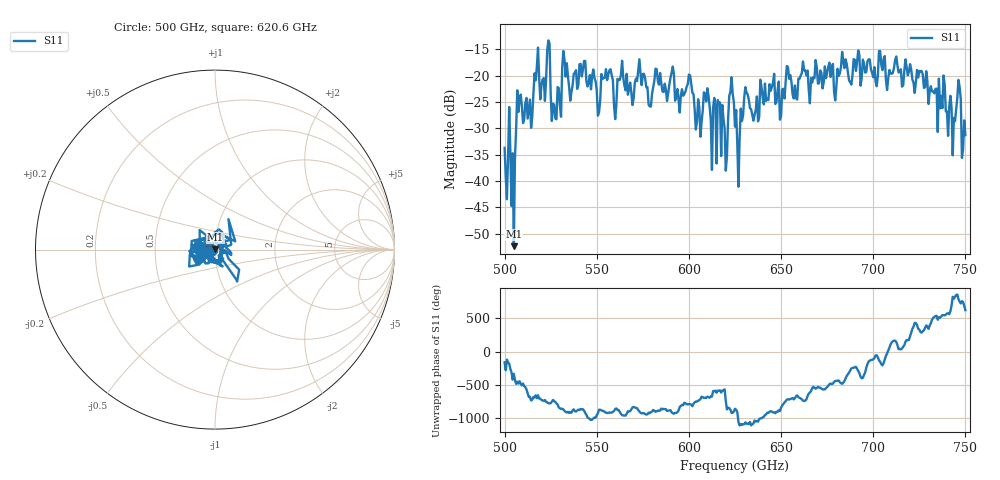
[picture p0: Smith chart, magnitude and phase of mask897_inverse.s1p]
!Created with skrf (http://scikit-rf.org).
# GHz S MA R 50.0
!freq magS11 angS11
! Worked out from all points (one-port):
!   401 points, 500 GHz to 750 GHz, reference 50 ohm
!   lowest |S11| = -52.4 dB at 505 GHz (marker M1), VSWR 1.00, Z = 50.2 + j0.112 ohm
!   |S11| at or under -10 dB: start of sweep to end of sweep
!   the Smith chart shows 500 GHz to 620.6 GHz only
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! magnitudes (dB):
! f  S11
! 500 GHz  -33.7
! 505 GHz  -52.4
! 508.1 GHz  -24.4
! 513.8 GHz  -24.5
! 516.9 GHz  -20.9
! 523.8 GHz  -13.3
! 526.9 GHz  -25.5
! 531.2 GHz  -18.3
! 542.5 GHz  -18.8
! 550.6 GHz  -27.6
! 562.5 GHz  -20.8
! 578.8 GHz  -25.8
! 590.6 GHz  -19.4
! 593.8 GHz  -22.5
! 600 GHz  -19.8
! 605 GHz  -24.5
! 609.4 GHz  -24.9
! 620 GHz  -38.0
! 623.1 GHz  -20.3
! 625 GHz  -29.7
! 626.2 GHz  -33.1
! 631.2 GHz  -23.2
! 656.2 GHz  -23.6
! 687.5 GHz  -21.2
! 718.8 GHz  -19.9
! 743.8 GHz  -28.0
! 746.2 GHz  -20.8
! 750 GHz  -31.3
